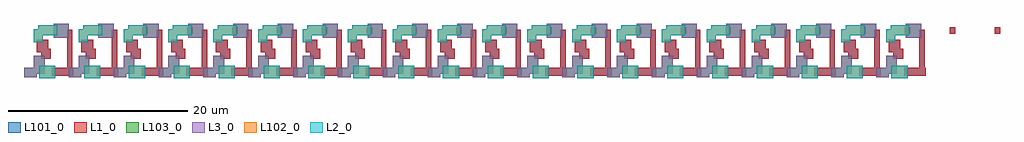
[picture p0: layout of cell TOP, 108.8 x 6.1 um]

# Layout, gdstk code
from math import pi, radians
import gdstk
lib = gdstk.Library(unit=1e-6, precision=1e-09)
def R(c, l, rs):  # rectangles x0, y0, x1, y1
    for r in rs: c.add(gdstk.rectangle(r[:2], r[2:], *l))
def A(c, l, x, y, w, h, nx, ny, dx, dy):  # array of equal rectangles
    R(c, l, [(x+i*dx, y+j*dy, x+i*dx+w, y+j*dy+h) for i in range(nx) for j in range(ny)])
L1_0 = (1, 0)
L2_0 = (2, 0)
L3_0 = (3, 0)
L101_0 = (101, 0)
L102_0 = (102, 0)
L103_0 = (103, 0)

c_c1 = lib.new_cell('C1')
R(c_c1, L1_0, [(2,-11.6,2.7,-11), (-2.7,-3.3,-1.8,-0.9), (-2.1,-3.2,2.4,-2.6), (-0.8,-0.8,0.3,0.3), (-0.1,-0.5,1.3,0.8)])
R(c_c1, L2_0, [(1.8,-1.5,2.9,0.6), (-3,-1.3,-1.6,0.5), (1,0.1,2.5,1.1)])
R(c_c1, L3_0, [(1.5,-2.8,3.1,-1.1), (-2.5,-0.1,-0.5,1.1), (-2.9,0.8,-1.8,2.2)])

top = lib.new_cell('TOP')
A(top, L101_0, -5, 0.8, 2.4, 0.9, 20, 1, 5, 0)
A(top, L101_0, -3.3, 1.4, 0.6, 4.5, 20, 1, 5, 0)
A(top, L101_0, -6.2, 2.7, 1.1, 1.1, 20, 1, 5, 0)
A(top, L101_0, -6.7, 3.4, 1.3, 1.4, 20, 1, 5, 0)
A(top, L101_0, 5.1, 5.5, 0.6, 0.7, 20, 1, 5, 0)
A(top, L102_0, -6.4, 0.5, 1.8, 1.4, 20, 1, 5, 0)
A(top, L102_0, -7, 4.5, 1, 1.5, 20, 1, 5, 0)
A(top, L102_0, -6.5, 5.3, 2.1, 1.1, 20, 1, 5, 0)
A(top, L103_0, -8.1, 0.6, 1.4, 1.1, 20, 1, 5, 0)
A(top, L103_0, -7, 1, 1.2, 2, 20, 1, 5, 0)
A(top, L103_0, -4.8, 5, 1.7, 1.6, 20, 1, 5, 0)
r = gdstk.Reference(c_c1, (89.1,3.5), rotation=pi/2); r.repetition = gdstk.Repetition(1, 20, v1=(0,0), v2=(-5,0)); top.add(r)

lib.write_gds('TOP.gds')
